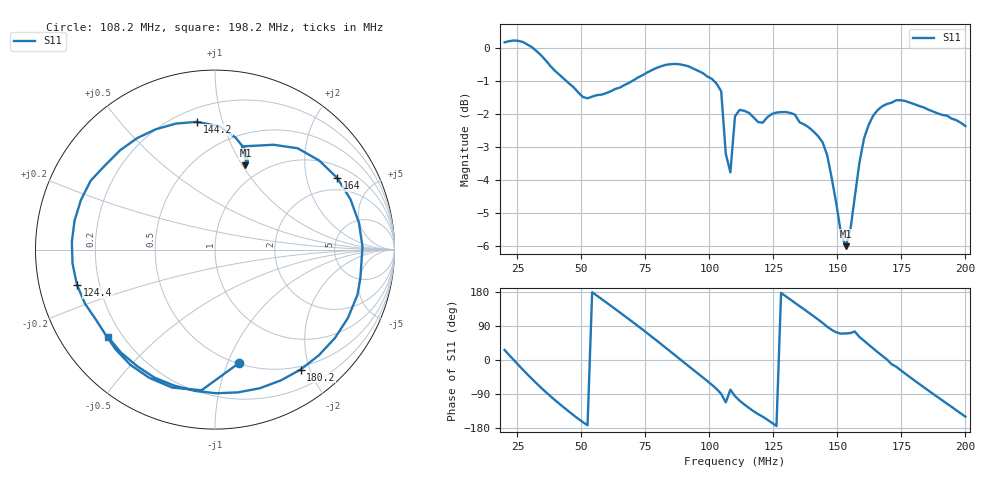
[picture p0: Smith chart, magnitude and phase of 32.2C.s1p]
# HZ S RI R 50
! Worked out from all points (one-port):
!   101 points, 20 MHz to 200 MHz, reference 50 ohm
!   lowest |S11| = -6.0 dB at 153.2 MHz (marker M1), VSWR 3.00, Z = 41.1 + j51.7 ohm
!   |S11| at or under -10 dB: nowhere
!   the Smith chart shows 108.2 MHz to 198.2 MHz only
!   S11 on the Smith chart (normalised r, x): 108.2 MHz: 0.50, -1.10; 124.4 MHz: 0.12, -0.12; 144.2 MHz: 0.28, +0.83; 164 MHz: 1.44, +3.06; 180.2 MHz: 0.45, -1.86; 198.2 MHz: 0.15, -0.35
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2e7  0.9131 0.453
2.54e7  0.9973 -0.2344
3.26e7  0.4561 -0.8758
3.8e7  -0.0986 -0.932
4.34e7  -0.5335 -0.7194
5.42e7  -0.8432 0.0141
6.5e7  -0.5064 0.7075
7.58e7  0.3081 0.8645
8.84e7  0.9429 0.0441
9.38e7  0.8322 -0.4142
1.01e8  0.3693 -0.8176
1.046e8  0.0117 -0.8593
1.064e8  -0.2576 -0.6407
1.082e8  0.1314 -0.6339
1.1e8  -0.0749 -0.7837
1.154e8  -0.4709 -0.6427
1.244e8  -0.769 -0.1962
1.334e8  -0.6926 0.3842
1.442e8  -0.0995 0.7122
1.532e8  0.1696 0.4707
1.55e8  0.1716 0.4985
1.64e8  0.681 0.399
1.712e8  0.8097 -0.1618
1.784e8  0.5784 -0.5889
1.802e8  0.4768 -0.6684
1.892e8  -0.1119 -0.7873
1.982e8  -0.5973 -0.4854
2e8  -0.6554 -0.3866
